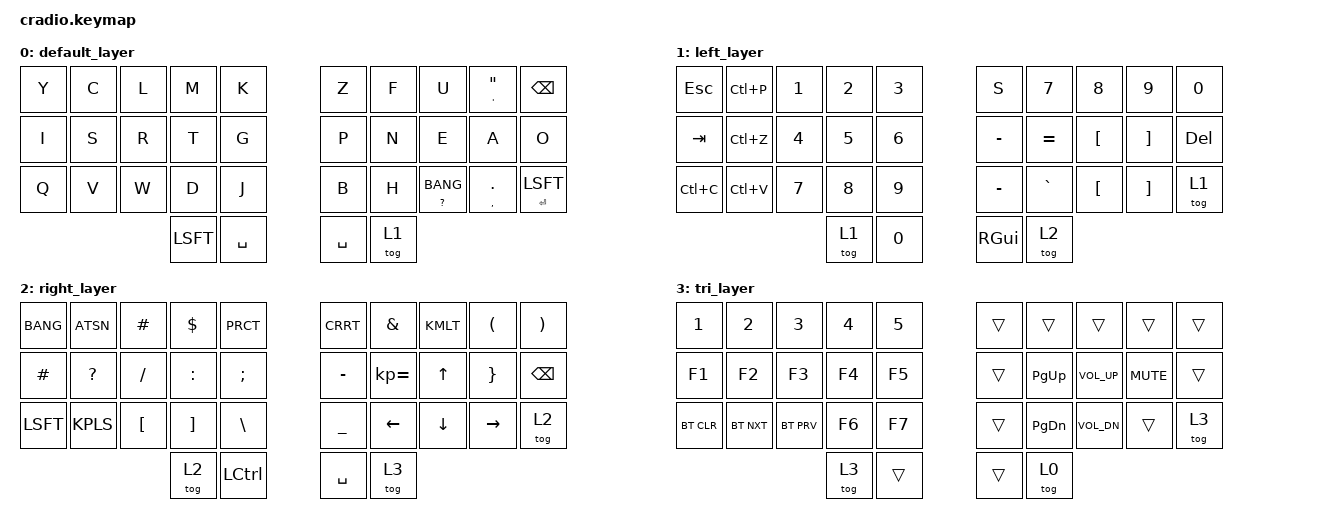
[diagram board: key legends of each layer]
/*
 * Copyright (c) 2020 The ZMK Contributors
 *
 * SPDX-License-Identifier: MIT
 */

#include <behaviors.dtsi>
#include <dt-bindings/zmk/keys.h>
#include <dt-bindings/zmk/bt.h>


&mt {
  //  flavor = "tap-preferred";
   // tapping_term_ms = <200>;
};

/ { 

    combos {
        compatible = "zmk,combos";
        combo_esc {
            timeout-ms = <50>;
            key-positions = <0 1>;
            bindings = <&kp ESC>;
        };
        
         combo_tab {
            timeout-ms = <50>;
            key-positions = <10 11>;
            bindings = <&kp TAB>;
        };
        
            combo_ralt {
            timeout-ms = <50>;
            key-positions = <17 16>;
            bindings = <&kp RALT>;
        };
        
                    combo_lalt {
            timeout-ms = <50>;
            key-positions = <11 12>;
            bindings = <&kp LALT>;
        };
        
                           combo_lgui {
            timeout-ms = <50>;
            key-positions = <12 13>;
            bindings = <&kp LGUI>;
        };
        
        
           combo_rgui {
            timeout-ms = <50>;
            key-positions = <17 18>;
            bindings = <&kp RGUI>;
        };
        

        
    };

        keymap {
                compatible = "zmk,keymap";
                
       		default_layer {
		bindings = <
		&kp Y &kp C &kp L &kp M &kp K 						&kp Z &kp F  &kp U    &mt QUOT DQT   &kp BKSP 
		&kp I &kp S &kp R &kp T &kp G 			        	        &kp P &kp N &kp E &kp A &kp O
		&kp Q &kp V &kp W &kp D &kp J				        &kp B &kp H  &mt QMARK BANG  &mt CMMA DOT &mt RET LSFT
          				&kp LSFT &kp SPC  				&kp SPC &tog 1 
		>;
		};

       		left_layer {
		bindings = <
		&kp ESC  &kp LC(P)    &kp NUM_1    &kp NUM_2    &kp NUM_3		&kp S &kp NUM_7 &kp NUM_8 &kp NUM_9 &kp NUM_0 
		&kp TAB    &kp LC(Z)    &kp NUM_4      &kp NUM_5     &kp NUM_6 		&kp MINUS &kp EQL  &kp LBKT &kp RBKT  &kp DEL 
		&kp LC(C)    &kp LC(V) 	&kp NUM_7 &kp NUM_8  &kp NUM_9  	 	&kp MINUS &kp GRAVE &kp LBKT &kp RBKT  &tog 1 
					    &tog 1   &kp NUM_0  					&kp RGUI &tog 2 
		>;
		};
		
		right_layer {
		bindings = <
		&kp BANG  &kp ATSN &kp HASH  &kp DLLR  &kp PRCT    			&kp CRRT  &kp AMPS &kp KMLT &kp LPRN &kp RPRN 
		&kp HASH  &kp QMARK  &kp FSLH  &kp COLN  &kp SCLN 			&kp MINUS &kp KP_EQUAL  &kp UP  &kp RBRC   &kp BKSP
		&kp LSFT  &kp KPLS &kp LBKT &kp RBKT   &kp BSLH    			&kp UNDER &kp LEFT &kp DOWN &kp RIGHT  &tog 2
					  &tog 2 &kp LCTL  				&kp SPC  &tog 3 
		>;
		};	
		
		tri_layer {
		bindings = <
		&kp NUM_1  &kp NUM_2    &kp NUM_3    &kp NUM_4    &kp NUM_5 			&trans &trans   &trans   &trans  &trans
		&kp F1 &kp F2 &kp F3 &kp F4 &kp F5  						&trans &kp PG_UP  &kp K_VOL_UP &kp K_MUTE &trans 
		&bt BT_CLR  &bt BT_NXT &bt BT_PRV &kp F6 &kp F7   				&trans &kp PG_DN  &kp K_VOL_DN  &trans &tog 3   
					 &tog 3 &trans  					&trans &tog 0 
		>;
		};	
        
	};
};
